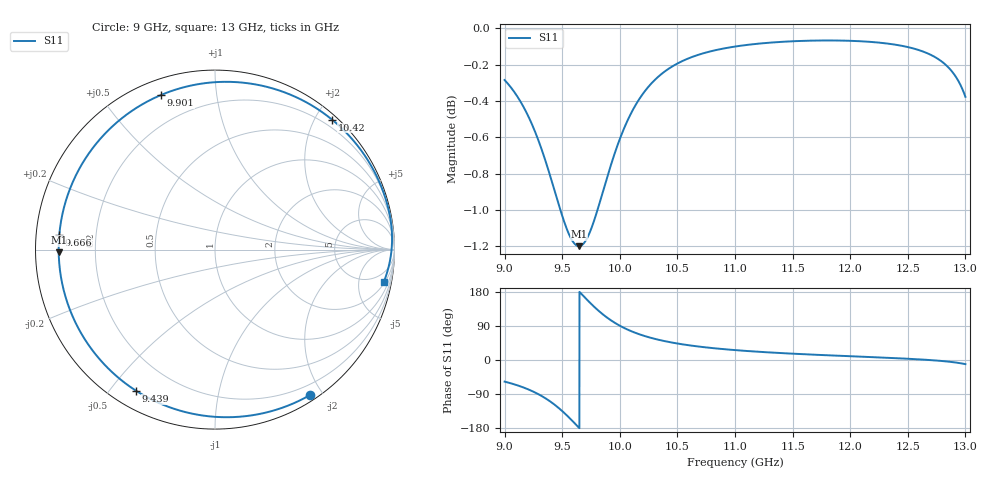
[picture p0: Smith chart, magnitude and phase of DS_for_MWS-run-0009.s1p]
! TOUCHSTONE file generated by CST DESIGN STUDIO
! Date and time: Tue Feb  4 18:04:59 2025
! Project name: C:\Work\MatlabApps\UnitCellOptimizationMatlab\CST\unitcell.cst
! Tree item: Tasks\Sweep1\SPara1\S-Parameters
! Header version: 2024
! Port assignment regex: !\s*Touchstone port\s*([0-9]+)\s*=\s*(CST MWS port|CST DES external port|CST DES block port)\s*(.+)\s* \(\"(.*)\"\)(\s*mode\s*([0-9]+))?.*
! Touchstone port assignment:
! Touchstone port 1 = CST DES external port 1 ("")
# GHz S MA R 50
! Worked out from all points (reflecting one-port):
!   4001 points, 9 GHz to 13 GHz, reference 50 ohm
!   lowest |S11| = -1.2 dB at 9.646 GHz (marker M1), VSWR 14.51, Z = 3.45 - j0.452 ohm
!   phase of S11 starts at -57 deg and turns -314 deg over the sweep
!   S11 on the Smith chart (normalised r, x): 9 GHz: 0.07, -1.84; 9.439 GHz: 0.07, -0.59; 9.666 GHz: 0.07, +0.05; 9.901 GHz: 0.07, +0.71; 10.42 GHz: 0.08, +2.24; 13 GHz: 2, -10
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9  0.9677 -57.0
9.142  0.9541 -70.1
9.276  0.9345 -87.5
9.363  0.9177 -102.7
9.439  0.9011 -119.1
9.5  0.888 -134.7
9.578  0.8751 -157.5
9.613  0.872 -168.4
9.646  0.871 -179.0
9.666  0.8714 174.6
9.724  0.8765 156.3
9.789  0.8876 137.2
9.844  0.8995 122.6
9.901  0.9123 109.3
9.948  0.9222 99.8
10  0.9322 90.5
10.093  0.9469 76.8
10.19  0.9583 65.8
10.297  0.9673 56.3
10.419  0.9745 48.0
10.5  0.9779 43.5
10.719  0.9842 34.2
11  0.9885 26.1
11.5  0.9918 16.7
12  0.9921 9.9
12.5  0.9882 3.3
12.799  0.9789 -2.7
13  0.9575 -10.9
